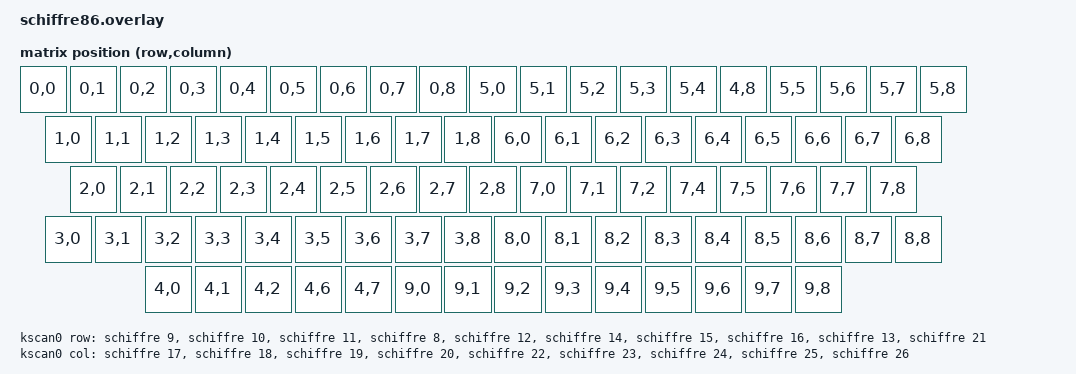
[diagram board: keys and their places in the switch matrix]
/*
 * Copyright (c) 2020 The ZMK Contributors
 *
 * SPDX-License-Identifier: MIT
 */

/*

ORDERED BY FCC PIN

---------------------------
-  NRF  |  FCC   |  MTRX  -
--------|--------|---------
   GND  |   01   |            
  VEXT  |   02   |            
  VEXT  |   03   |            
  1.11  |   04   |  IO        
  1.10  |   05   |  IO
  0.03  |   06   |  IO       
  0.28  |   07   |  IO       
  1.13  |   08   |   R3       
  0.02  |   09   |   R0       
  0.29  |   10   |   R1       
  0.31  |   11   |   R2       
  0.24  |   12   |   R4       
  0.13  |   13   |   R8       
  1.09  |   14   |   R5       
  0.05  |   15   |   R6       
  0.26  |   16   |   R7       
  0.06  |   17   |   C0       
  0.08  |   18   |   C1       
  0.12  |   19   |   C2       
  0.07  |   20   |   C3       
  0.15  |   21   |   R9       
  1.06  |   22   |   C4       
  0.17  |   23   |   C5       
  1.04  |   24   |   C6       
  0.20  |   25   |   C7       
  1.02  |   26   |   C8       
  0.22  |   27   |  IO       
  1.00  |   28   |  IO        
  0.30  |   29   |  IO      
  GND   |   30   |            


ORDERED BY ROW/COL

---------------------------
-  NRF  |  FCC   |  MTRX  -
--------|--------|---------
  0.02  |   09   |   R0       
  0.29  |   10   |   R1       
  0.31  |   11   |   R2       
  1.13  |   08   |   R3       
  0.24  |   12   |   R4       
  1.09  |   14   |   R5       
  0.05  |   15   |   R6       
  0.26  |   16   |   R7       
  0.13  |   13   |   R8       
  0.15  |   21   |   R9       

  0.06  |   17   |   C0       
  0.08  |   18   |   C1       
  0.12  |   19   |   C2       
  0.07  |   20   |   C3       
  1.06  |   22   |   C4       
  0.17  |   23   |   C5       
  1.04  |   24   |   C6       
  0.20  |   25   |   C7       
  1.02  |   26   |   C8       

  1.11  |   04   |  IO        
  1.10  |   05   |  IO
  0.03  |   06   |  IO       
  0.28  |   07   |  IO       
  0.22  |   27   |  IO       
  1.00  |   28   |  IO        
  0.30  |   29   |  IO      
  VEXT  |   02   |            
  VEXT  |   03   |            
   GND  |   01   |            
   GND  |   30   |            
*/



#include <dt-bindings/zmk/matrix_transform.h>

/ {
	chosen {
		zmk,kscan = &kscan0;
		zmk,matrix_transform = &default_transform;
	};

	kscan0: kscan {
		compatible = "zmk,kscan-gpio-matrix";
		label = "KSCAN";

		diode-direction = "col2row";
		row-gpios
			= <&schiffre  9 (GPIO_ACTIVE_HIGH | GPIO_PULL_DOWN)>
			, <&schiffre 10 (GPIO_ACTIVE_HIGH | GPIO_PULL_DOWN)>
			, <&schiffre 11 (GPIO_ACTIVE_HIGH | GPIO_PULL_DOWN)>
			, <&schiffre  8 (GPIO_ACTIVE_HIGH | GPIO_PULL_DOWN)>
			, <&schiffre 12 (GPIO_ACTIVE_HIGH | GPIO_PULL_DOWN)>
			, <&schiffre 14 (GPIO_ACTIVE_HIGH | GPIO_PULL_DOWN)>
			, <&schiffre 15 (GPIO_ACTIVE_HIGH | GPIO_PULL_DOWN)>
			, <&schiffre 16 (GPIO_ACTIVE_HIGH | GPIO_PULL_DOWN)>
			, <&schiffre 13 (GPIO_ACTIVE_HIGH | GPIO_PULL_DOWN)>
			, <&schiffre 21 (GPIO_ACTIVE_HIGH | GPIO_PULL_DOWN)>
			;
		col-gpios
			= <&schiffre 17 GPIO_ACTIVE_HIGH>
			, <&schiffre 18 GPIO_ACTIVE_HIGH>
			, <&schiffre 19 GPIO_ACTIVE_HIGH>
			, <&schiffre 20 GPIO_ACTIVE_HIGH>
			, <&schiffre 22 GPIO_ACTIVE_HIGH>
			, <&schiffre 23 GPIO_ACTIVE_HIGH>
			, <&schiffre 24 GPIO_ACTIVE_HIGH>
			, <&schiffre 25 GPIO_ACTIVE_HIGH>
			, <&schiffre 26 GPIO_ACTIVE_HIGH>
			;
	};

	default_transform: keymap_transform_0 {
		compatible = "zmk,matrix-transform";
		columns = <8>;
		rows = <9>;
        map = <
        
RC(0,0) RC(0,1) RC(0,2) RC(0,3) RC(0,4) RC(0,5) RC(0,6) RC(0,7) RC(0,8) RC(5,0) RC(5,1) RC(5,2) RC(5,3) RC(5,4) RC(4,8)  RC(5,5) RC(5,6) RC(5,7) RC(5,8)

  RC(1,0)  RC(1,1) RC(1,2) RC(1,3) RC(1,4) RC(1,5) RC(1,6) RC(1,7) RC(1,8) RC(6,0) RC(6,1) RC(6,2) RC(6,3)   RC(6,4)     RC(6,5) RC(6,6) RC(6,7) RC(6,8)

   RC(2,0)  RC(2,1) RC(2,2) RC(2,3) RC(2,4) RC(2,5) RC(2,6) RC(2,7) RC(2,8) RC(7,0) RC(7,1) RC(7,2)      RC(7,4)         RC(7,5) RC(7,6) RC(7,7) RC(7,8)

 RC(3,0) RC(3,1) RC(3,2) RC(3,3) RC(3,4) RC(3,5) RC(3,6) RC(3,7) RC(3,8) RC(8,0) RC(8,1) RC(8,2)   RC(8,3)    RC(8,4)    RC(8,5) RC(8,6) RC(8,7) RC(8,8)

RC(4,0) RC(4,1) RC(4,2)            RC(4,6)             RC(4,7)            RC(9,0) RC(9,1) RC(9,2)     RC(9,3) RC(9,4) RC(9,5)    RC(9,6) RC(9,7) RC(9,8)

        >;
	};
};

